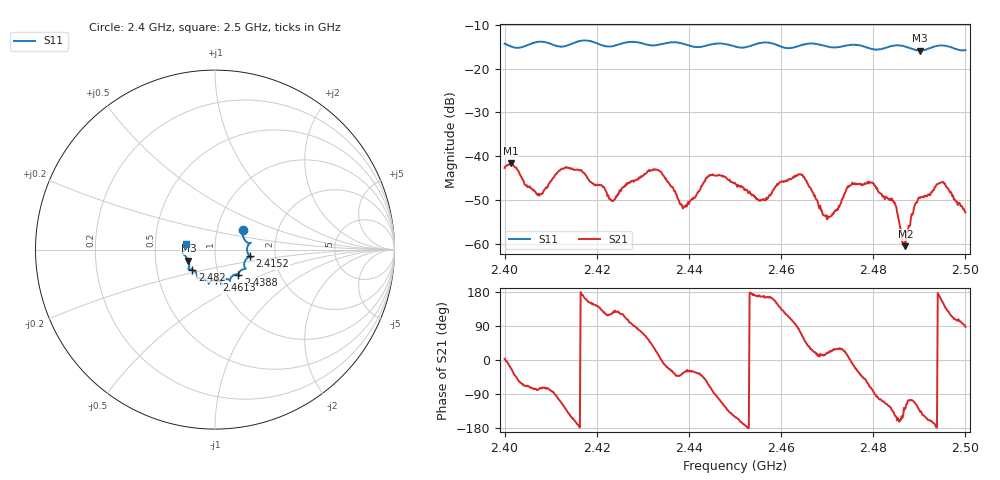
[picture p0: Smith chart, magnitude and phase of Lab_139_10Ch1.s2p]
# Hz S RI R 50
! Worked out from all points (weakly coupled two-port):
!   601 points, 2.4 GHz to 2.5 GHz, reference 50 ohm
!   highest |S21| = -41.68 dB at 2.4013 GHz (marker M1); lowest = -60.6 dB at 2.487 GHz (marker M2)
!   lowest |S11| = -15.9 dB at 2.4902 GHz (marker M3), VSWR 1.38, Z = 36.8 - j4.65 ohm
!   |S11| at or under -10 dB: start of sweep to end of sweep
!   S12 and S22 are empty: the file has one direction only
!   S11 on the Smith chart (normalised r, x): 2.4 GHz: 1.33, +0.31; 2.4152 GHz: 1.48, -0.11; 2.4388 GHz: 1.24, -0.36; 2.4613 GHz: 0.96, -0.34; 2.482 GHz: 0.76, -0.17; 2.5 GHz: 0.72, +0.05
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2.4e9  0.1574 0.1114  0.00731 0.000407  0 0  0 0
2.401333e9  0.1548 0.0909  0.00769 -0.00296  0 0  0 0
2.4075e9  0.199 0.0373  0.000844 -0.00343  0 0  0 0
2.415167e9  0.1939 -0.0372  -0.00652 -0.00244  0 0  0 0
2.416667e9  0.2037 -0.0435  -0.00688 0.000713  0 0  0 0
2.423333e9  0.1626 -0.0766  -0.00171 0.00256  0 0  0 0
2.433333e9  0.1322 -0.1318  0.0067 0.00174  0 0  0 0
2.438833e9  0.1294 -0.1408  0.0022 -0.00145  0 0  0 0
2.444667e9  0.0835 -0.1684  0.00185 -0.00582  0 0  0 0
2.45e9  0.0687 -0.1647  -0.00431 -0.00241  0 0  0 0
2.455667e9  0.0356 -0.1936  -0.00309 0.000688  0 0  0 0
2.461333e9  0.00782 -0.1709  -0.00244 0.00458  0 0  0 0
2.464333e9  -0.0297 -0.1824  0.00219 0.00581  0 0  0 0
2.466667e9  -0.0346 -0.1902  0.00357 0.00183  0 0  0 0
2.470167e9  -0.0451 -0.1719  0.00194 0.000646  0 0  0 0
2.4755e9  -0.0945 -0.1613  0.0049 -0.000862  0 0  0 0
2.482e9  -0.126 -0.1117  -0.00108 -0.00327  0 0  0 0
2.483333e9  -0.1396 -0.1087  -0.00169 -0.00278  0 0  0 0
2.487e9  -0.146 -0.1024  -0.000556 -0.000752  0 0  0 0
2.490167e9  -0.1484 -0.0615  -0.0024 -0.00229  0 0  0 0
2.495e9  -0.1825 -0.0198  -0.00452 0.00222  0 0  0 0
2.5e9  -0.1589 0.0326  9.13e-05 0.00227  0 0  0 0
